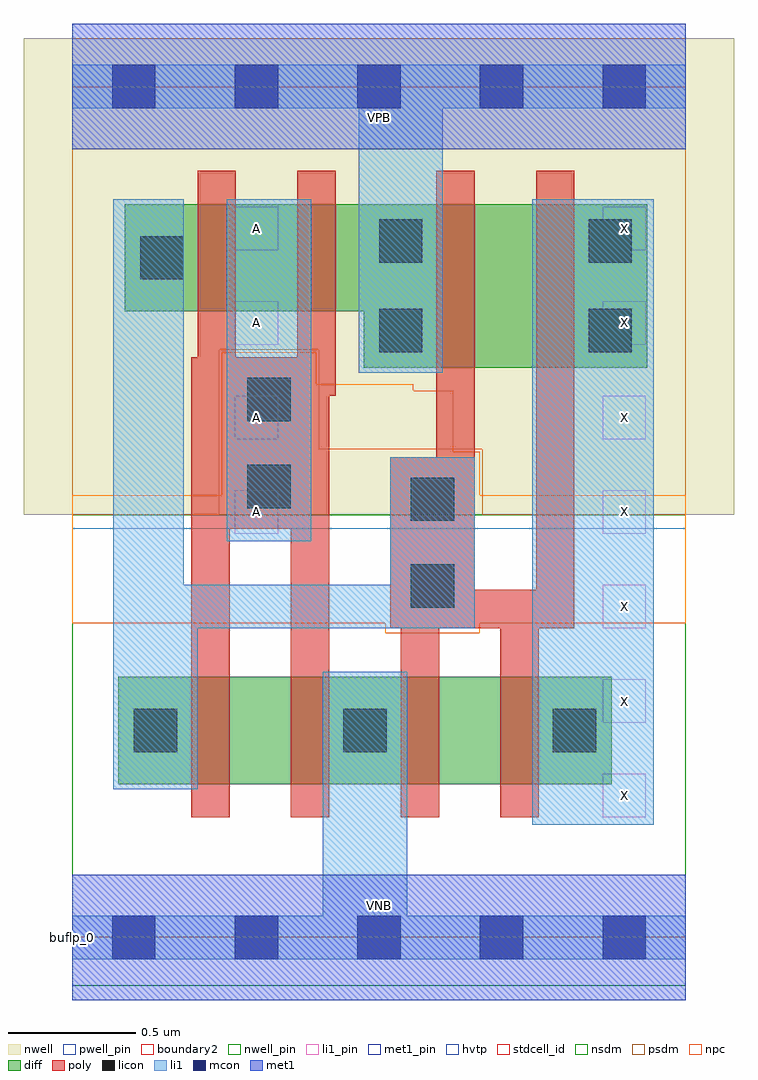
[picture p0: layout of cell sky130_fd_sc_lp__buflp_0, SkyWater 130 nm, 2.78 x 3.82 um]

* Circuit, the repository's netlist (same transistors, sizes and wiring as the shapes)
* Copyright 2020 The SkyWater PDK Authors
*
* Licensed under the Apache License, Version 2.0 (the "License");
* you may not use this file except in compliance with the License.
* You may obtain a copy of the License at
*
*     https://www.apache.org/licenses/LICENSE-2.0
*
* Unless required by applicable law or agreed to in writing, software
* distributed under the License is distributed on an "AS IS" BASIS,
* WITHOUT WARRANTIES OR CONDITIONS OF ANY KIND, either express or implied.
* See the License for the specific language governing permissions and
* limitations under the License.
*
* SPDX-License-Identifier: Apache-2.0

.SUBCKT sky130_fd_sc_lp__buflp_0 A VGND VNB VPB VPWR X
*.PININFO A:I VGND:I VNB:I VPB:I VPWR:I X:O
MMIN1 Ab A net24 VNB sky130_fd_pr__nfet_01v8 m=1 w=0.42U l=0.15U mult=1 sa=0.265
+ sb=0.265 sd=0.28 area=0.063 perim=1.14
MMIN2 X Ab net31 VNB sky130_fd_pr__nfet_01v8 m=1 w=0.42U l=0.15U mult=1 sa=0.265
+ sb=0.265 sd=0.28 area=0.063 perim=1.14
MI6 net24 A VGND VNB sky130_fd_pr__nfet_01v8 m=1 w=0.42U l=0.15U mult=1 sa=0.265
+ sb=0.265 sd=0.28 area=0.063 perim=1.14
MI7 net31 Ab VGND VNB sky130_fd_pr__nfet_01v8 m=1 w=0.42U l=0.15U mult=1 sa=0.265
+ sb=0.265 sd=0.28 area=0.063 perim=1.14
MMIP1 Ab A net47 VPB sky130_fd_pr__pfet_01v8_hvt m=1 w=0.42U l=0.15U mult=1 sa=0.265
+ sb=0.265 sd=0.28 area=0.063 perim=1.14
MI4 net47 A VPWR VPB sky130_fd_pr__pfet_01v8_hvt m=1 w=0.42U l=0.15U mult=1 sa=0.265
+ sb=0.265 sd=0.28 area=0.063 perim=1.14
MMIP2 X Ab net35 VPB sky130_fd_pr__pfet_01v8_hvt m=1 w=0.64U l=0.15U mult=1 sa=0.265
+ sb=0.265 sd=0.28 area=0.063 perim=1.14
MI5 net35 Ab VPWR VPB sky130_fd_pr__pfet_01v8_hvt m=1 w=0.64U l=0.15U mult=1 sa=0.265
+ sb=0.265 sd=0.28 area=0.063 perim=1.14
.ENDS sky130_fd_sc_lp__buflp_0

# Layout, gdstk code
import gdstk
lib = gdstk.Library(unit=1e-6, precision=1e-09)
def R(c, l, rs):  # rectangles x0, y0, x1, y1
    for r in rs: c.add(gdstk.rectangle(r[:2], r[2:], *l))
def A(c, l, x, y, w, h, nx, ny, dx, dy):  # array of equal rectangles
    R(c, l, [(x+i*dx, y+j*dy, x+i*dx+w, y+j*dy+h) for i in range(nx) for j in range(ny)])
def P(c, l, *ps):  # polygons
    for p in ps: c.add(gdstk.Polygon(p, *l))
nwell_pin = (64, 16)
nwell = (64, 20)
diff = (65, 20)
poly = (66, 20)
licon = (66, 44)
li1_pin = (67, 16)
li1 = (67, 20)
mcon = (67, 44)
met1_pin = (68, 16)
met1 = (68, 20)
hvtp = (78, 44)
stdcell_id = (81, 4)
nsdm = (93, 44)
psdm = (94, 20)
npc = (95, 20)
pwell_pin = (122, 16)
boundary2 = (236, 0)

sky130_fd_sc_lp__buflp_0 = lib.new_cell('sky130_fd_sc_lp__buflp_0')
R(sky130_fd_sc_lp__buflp_0, nwell_pin, [(0,3.085,2.4,3.33)])
R(sky130_fd_sc_lp__buflp_0, nwell, [(-0.19,1.655,2.59,3.52)])
R(sky130_fd_sc_lp__buflp_0, diff, [(0.18,0.6,2.11,1.02)])
P(sky130_fd_sc_lp__buflp_0, diff, [(2.25,2.87),(0.205,2.87),(0.205,2.45),(1.14,2.45),(1.14,2.23),(2.25,2.23)])
P(sky130_fd_sc_lp__buflp_0, poly, [(1.03,3),(0.88,3),(0.88,2.27),(0.64,2.27),(0.64,3),(0.49,3),(0.49,2.27),(0.465,2.27),(0.465,0.47),(0.615,0.47),(0.615,1.6),(0.855,1.6),(0.855,0.47),(1.005,0.47),(1.005,2.12),(1.03,2.12)],
  [(1.965,3),(1.815,3),(1.815,1.36),(1.575,1.36),(1.575,3),(1.425,3),(1.425,1.88),(1.245,1.88),(1.245,1.21),(1.285,1.21),(1.285,0.47),(1.435,0.47),(1.435,1.21),(1.675,1.21),(1.675,0.47),(1.825,0.47),(1.825,1.21),(1.965,1.21)])
A(sky130_fd_sc_lp__buflp_0, licon, 0.24, 0.725, 0.17, 0.17, 3, 1, 0.82, 0)
R(sky130_fd_sc_lp__buflp_0, licon, [(1.325,1.29,1.495,1.46), (1.325,1.63,1.495,1.8), (0.685,1.68,0.855,1.85), (0.685,2.02,0.855,2.19), (1.2,2.29,1.37,2.46), (2.02,2.29,2.19,2.46), (0.265,2.575,0.435,2.745), (1.2,2.64,1.37,2.81), (2.02,2.64,2.19,2.81)])
A(sky130_fd_sc_lp__buflp_0, li1_pin, 2.075, 0.47, 0.17, 0.17, 1, 7, 0, 0.37)
A(sky130_fd_sc_lp__buflp_0, li1_pin, 0.635, 1.58, 0.17, 0.17, 1, 4, 0, 0.37)
R(sky130_fd_sc_lp__buflp_0, li1, [(1.8,0.44,2.275,2.89), (0.605,1.55,0.935,2.89)])
P(sky130_fd_sc_lp__buflp_0, li1, [(1.12,2.21),(1.12,3.245),(0,3.245),(0,3.415),(2.4,3.415),(2.4,3.245),(1.45,3.245),(1.45,2.21)],
  [(0.98,0.085),(0.98,1.04),(1.31,1.04),(1.31,0.085),(2.4,0.085),(2.4,-0.085),(0,-0.085),(0,0.085)],
  [(0.16,2.89),(0.435,2.89),(0.435,1.38),(1.245,1.38),(1.245,1.88),(1.575,1.88),(1.575,1.21),(0.49,1.21),(0.49,0.58),(0.16,0.58)])
A(sky130_fd_sc_lp__buflp_0, mcon, 0.155, -0.085, 0.17, 0.17, 5, 2, 0.48, 3.33)
R(sky130_fd_sc_lp__buflp_0, met1_pin, [(0,0,2.4,0.245), (0,3.085,2.4,3.33)])
R(sky130_fd_sc_lp__buflp_0, met1, [(0,-0.245,2.4,0.245), (0,3.085,2.4,3.575)])
R(sky130_fd_sc_lp__buflp_0, hvtp, [(0,1.6,2.4,3.33)])
R(sky130_fd_sc_lp__buflp_0, stdcell_id, [(0,0,2.4,3.33)])
R(sky130_fd_sc_lp__buflp_0, nsdm, [(0,-0.19,2.4,1.655)])
P(sky130_fd_sc_lp__buflp_0, psdm, [(2.4,3.52),(0,3.52),(0,1.655),(0.575,1.655),(0.575,2.3),(0.965,2.3),(0.965,1.91),(1.605,1.91),(1.605,1.655),(2.4,1.655)])
P(sky130_fd_sc_lp__buflp_0, npc, [(2.4,1.73),(1.595,1.73),(1.595,1.9),(1.49,1.9),(1.49,2.14),(1.335,2.14),(1.335,2.165),(0.955,2.165),(0.955,2.29),(0.585,2.29),(0.585,1.73),(0,1.73),(0,1.23),(1.225,1.23),(1.225,1.19),(1.595,1.19),(1.595,1.23),(2.4,1.23)])
R(sky130_fd_sc_lp__buflp_0, pwell_pin, [(0,0,2.4,0.245)])
R(sky130_fd_sc_lp__buflp_0, boundary2, [(0,0,2.4,3.33)])
sky130_fd_sc_lp__buflp_0.add(gdstk.Label('VNB', (1.2,0.123), layer=64, texttype=59))
sky130_fd_sc_lp__buflp_0.add(gdstk.Label('VPB', (1.2,3.208), layer=64, texttype=5))
sky130_fd_sc_lp__buflp_0.add(gdstk.Label('buflp_0', (0,0), layer=83, texttype=44))
sky130_fd_sc_lp__buflp_0.add(gdstk.Label('VPWR', (1.2,3.208), layer=68, texttype=5))
sky130_fd_sc_lp__buflp_0.add(gdstk.Label('VGND', (1.2,0.123), layer=68, texttype=5))
sky130_fd_sc_lp__buflp_0.add(gdstk.Label('A', (0.72,1.665), layer=67, texttype=5))
sky130_fd_sc_lp__buflp_0.add(gdstk.Label('A', (0.72,2.035), layer=67, texttype=5))
sky130_fd_sc_lp__buflp_0.add(gdstk.Label('A', (0.72,2.405), layer=67, texttype=5))
sky130_fd_sc_lp__buflp_0.add(gdstk.Label('A', (0.72,2.775), layer=67, texttype=5))
sky130_fd_sc_lp__buflp_0.add(gdstk.Label('X', (2.16,0.555), layer=67, texttype=5))
sky130_fd_sc_lp__buflp_0.add(gdstk.Label('X', (2.16,0.925), layer=67, texttype=5))
sky130_fd_sc_lp__buflp_0.add(gdstk.Label('X', (2.16,1.295), layer=67, texttype=5))
sky130_fd_sc_lp__buflp_0.add(gdstk.Label('X', (2.16,1.665), layer=67, texttype=5))
sky130_fd_sc_lp__buflp_0.add(gdstk.Label('X', (2.16,2.035), layer=67, texttype=5))
sky130_fd_sc_lp__buflp_0.add(gdstk.Label('X', (2.16,2.405), layer=67, texttype=5))
sky130_fd_sc_lp__buflp_0.add(gdstk.Label('X', (2.16,2.775), layer=67, texttype=5))

lib.write_gds('sky130_fd_sc_lp__buflp_0.gds')
